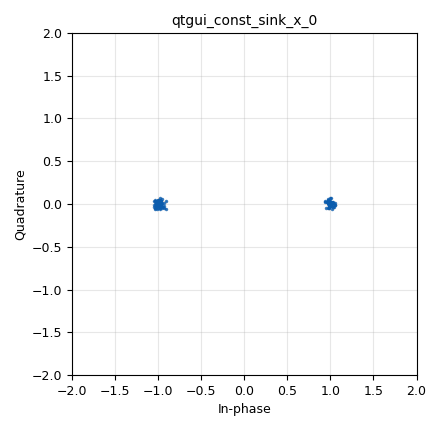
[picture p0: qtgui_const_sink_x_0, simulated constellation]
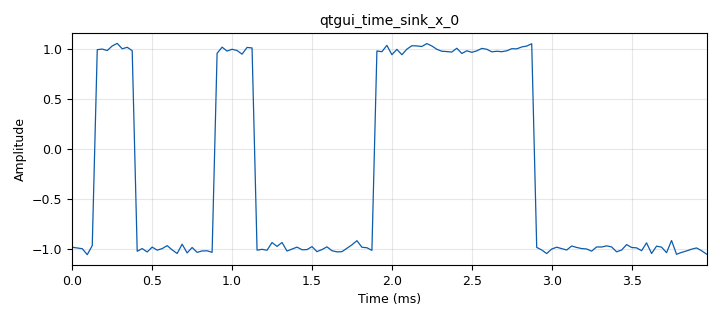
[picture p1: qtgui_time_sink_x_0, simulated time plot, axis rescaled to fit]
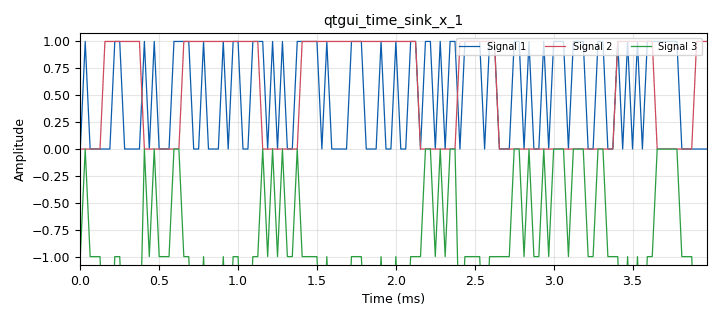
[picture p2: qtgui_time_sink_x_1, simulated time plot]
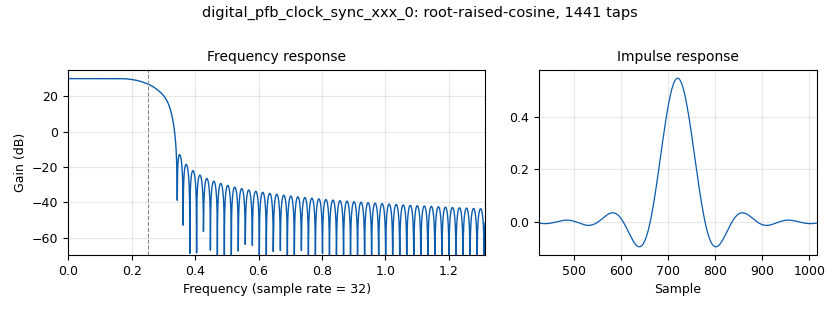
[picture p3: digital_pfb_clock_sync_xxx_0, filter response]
options:
  parameters:
    author: Nolan
    generate_options: qt_gui
    id: enc_mod_demod_dec
    output_language: python
    run_options: run
    title: BPSK Channel
  states: {}

blocks:
- name: bpsk_mod
  id: variable_constellation
  parameters:
    const_points: '[-1+0j, 1+0j]'
    precision: '8'
    sym_map: '[0, 1]'
    type: bpsk
  states: {}
- name: delay_range
  id: variable_qtgui_range
  parameters:
    orient: Qt.Horizontal
    start: '0'
    step: '1'
    stop: '1000'
    value: '0'
  states: {}
- name: nfilts
  id: variable
  parameters:
    value: '32'
  states: {}
- name: noise_voltage
  id: variable_qtgui_range
  parameters:
    orient: Qt.Horizontal
    start: '0'
    step: '1e-3'
    stop: '1'
    value: '63e-3'
  states: {}
- name: rrc_taps
  id: variable
  parameters:
    value: firdes.root_raised_cosine(nfilts, nfilts, 1.0/float(sps), 0.35, 45*nfilts)
  states: {}
- name: samp_rate
  id: variable
  parameters:
    value: '32000'
  states: {}
- name: sps
  id: variable
  parameters:
    value: '2'
  states: {}
- name: timing_loop_bandwidth
  id: variable_qtgui_range
  parameters:
    orient: Qt.Horizontal
    start: '1e-3'
    step: '1e-3'
    stop: '200e-3'
    value: '63e-3'
  states: {}
- name: variable_cc_encoder_def_0
  id: variable_cc_encoder_def
  parameters:
    framebits: '8'
    k: '7'
    mode: fec.CC_STREAMING
    ndim: '0'
    padding: 'True'
    polys: '[79,-109]'
    rate: '2'
    state_start: '0'
  states: {}
- name: analog_random_uniform_source_x_0
  id: analog_random_uniform_source_x
  parameters:
    maximum: '1'
    minimum: '0'
    seed: '1'
    type: byte
  states: {state: disabled}
- name: blocks_add_const_vxx_0
  id: blocks_add_const_vxx
  parameters:
    const: '-1'
    type: float
  states: {}
- name: blocks_char_to_float_0
  id: blocks_char_to_float
  parameters:
    scale: '1'
  states: {}
- name: blocks_char_to_float_0_0
  id: blocks_char_to_float
  parameters:
    scale: '1'
  states: {}
- name: blocks_complex_to_real_0
  id: blocks_complex_to_real
  parameters: {}
  states: {}
- name: blocks_delay_0
  id: blocks_delay
  parameters:
    delay: '0'
    type: float
  states: {}
- name: blocks_float_to_char_0
  id: blocks_float_to_char
  parameters:
    scale: '1'
  states: {state: disabled}
- name: blocks_sub_xx_0
  id: blocks_sub_xx
  parameters:
    type: float
  states: {}
- name: blocks_throttle_0
  id: blocks_throttle
  parameters:
    samples_per_second: samp_rate
    type: byte
  states: {state: disabled}
- name: blocks_throttle_1
  id: blocks_throttle
  parameters:
    samples_per_second: samp_rate
    type: complex
  states: {}
- name: channels_channel_model_0
  id: channels_channel_model
  parameters:
    epsilon: '1.0'
    freq_offset: '0.0'
    noise_voltage: noise_voltage
    seed: '0'
    taps: '1'
  states: {}
- name: digital_binary_slicer_fb_0
  id: digital_binary_slicer_fb
  parameters: {}
  states: {}
- name: digital_constellation_modulator_0
  id: digital_constellation_modulator
  parameters:
    constellation: bpsk_mod
    differential: 'True'
    excess_bw: '0.35'
    samples_per_symbol: sps
    verbose: 'True'
  states: {}
- name: digital_costas_loop_cc_0
  id: digital_costas_loop_cc
  parameters:
    order: '2'
    w: timing_loop_bandwidth
  states: {state: disabled}
- name: digital_glfsr_source_x_0_0
  id: digital_glfsr_source_x
  parameters:
    degree: '7'
    mask: '96'
    repeat: 'True'
    seed: '1'
    type: byte
  states: {}
- name: digital_pfb_clock_sync_xxx_0
  id: digital_pfb_clock_sync_xxx
  parameters:
    filter_size: nfilts
    init_phase: '64'
    loop_bw: timing_loop_bandwidth
    max_dev: '1.5'
    osps: '1'
    sps: sps
    taps: rrc_taps
    type: ccf
  states: {}
- name: dtv_dvbt_viterbi_decoder_0
  id: dtv_dvbt_viterbi_decoder
  parameters:
    block_size: '7'
    code_rate: C1_2
    constellation: qpsk
    hierarchy: nh
    type: b
  states: {state: disabled}
- name: fec_generic_encoder_0
  id: fec_generic_encoder
  parameters:
    encoder: variable_cc_encoder_def_0
    itype: byte
    otype: byte
  states: {}
- name: qtgui_const_sink_x_0
  id: qtgui_const_sink_x
  parameters:
    gui_hint: tabs@1
    size: '128'
    type: complex
  states: {}
- name: qtgui_time_sink_x_0
  id: qtgui_time_sink_x
  parameters:
    entags: 'False'
    gui_hint: tabs@1
    size: '128'
    srate: samp_rate
    type: float
  states: {}
- name: qtgui_time_sink_x_1
  id: qtgui_time_sink_x
  parameters:
    gui_hint: tabs@0
    nconnections: '3'
    size: '128'
    srate: samp_rate
    type: float
    update_time: '0.1'
  states: {}
- name: tabs
  id: qtgui_tab_widget
  parameters:
    label0: coding
    label1: modulation
    num_tabs: '2'
  states: {}
- name: virtual_sink_0_0
  id: virtual_sink
  parameters:
    stream_id: packet_signal
  states: {}
- name: virtual_sink_0_0_0
  id: virtual_sink
  parameters:
    stream_id: demod
  states: {}
- name: virtual_source_2
  id: virtual_source
  parameters:
    stream_id: packet_signal
  states: {}
- name: virtual_source_2_0
  id: virtual_source
  parameters:
    stream_id: demod
  states: {}

connections:
- [analog_random_uniform_source_x_0, '0', blocks_char_to_float_0, '0']
- [analog_random_uniform_source_x_0, '0', fec_generic_encoder_0, '0']
- [blocks_add_const_vxx_0, '0', qtgui_time_sink_x_1, '2']
- [blocks_char_to_float_0, '0', blocks_sub_xx_0, '0']
- [blocks_char_to_float_0, '0', qtgui_time_sink_x_1, '0']
- [blocks_char_to_float_0_0, '0', blocks_delay_0, '0']
- [blocks_complex_to_real_0, '0', blocks_float_to_char_0, '0']
- [blocks_complex_to_real_0, '0', digital_binary_slicer_fb_0, '0']
- [blocks_complex_to_real_0, '0', qtgui_time_sink_x_0, '0']
- [blocks_delay_0, '0', blocks_sub_xx_0, '1']
- [blocks_delay_0, '0', qtgui_time_sink_x_1, '1']
- [blocks_float_to_char_0, '0', virtual_sink_0_0_0, '0']
- [blocks_sub_xx_0, '0', blocks_add_const_vxx_0, '0']
- [blocks_throttle_0, '0', digital_constellation_modulator_0, '0']
- [blocks_throttle_1, '0', channels_channel_model_0, '0']
- [channels_channel_model_0, '0', digital_costas_loop_cc_0, '0']
- [channels_channel_model_0, '0', digital_pfb_clock_sync_xxx_0, '0']
- [digital_binary_slicer_fb_0, '0', virtual_sink_0_0_0, '0']
- [digital_constellation_modulator_0, '0', blocks_throttle_1, '0']
- [digital_costas_loop_cc_0, '0', blocks_complex_to_real_0, '0']
- [digital_costas_loop_cc_0, '0', qtgui_const_sink_x_0, '0']
- [digital_glfsr_source_x_0_0, '0', blocks_char_to_float_0, '0']
- [digital_glfsr_source_x_0_0, '0', fec_generic_encoder_0, '0']
- [digital_pfb_clock_sync_xxx_0, '0', blocks_complex_to_real_0, '0']
- [digital_pfb_clock_sync_xxx_0, '0', qtgui_const_sink_x_0, '0']
- [fec_generic_encoder_0, '0', virtual_sink_0_0, '0']
- [virtual_source_2, '0', blocks_throttle_0, '0']
- [virtual_source_2, '0', digital_constellation_modulator_0, '0']
- [virtual_source_2_0, '0', blocks_char_to_float_0_0, '0']

metadata:
  file_format: 1
